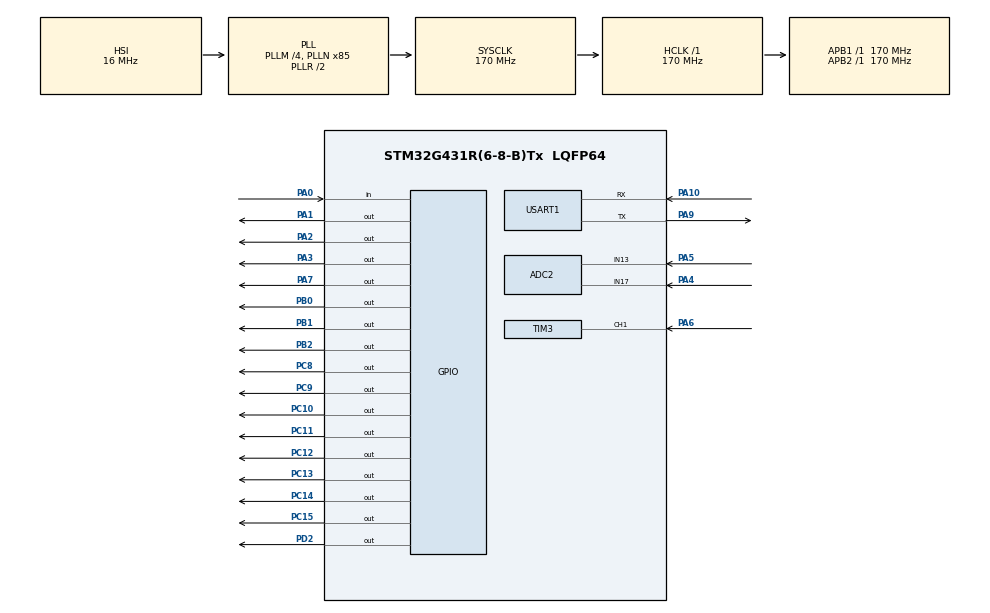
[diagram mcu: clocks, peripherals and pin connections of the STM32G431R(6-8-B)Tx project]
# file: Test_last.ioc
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ADC2.Channel-0\#ChannelRegularConversion=ADC_CHANNEL_17
ADC2.Channel-1\#ChannelRegularConversion=ADC_CHANNEL_13
ADC2.ContinuousConvMode=DISABLE
ADC2.DiscontinuousConvMode=ENABLE
ADC2.NbrOfConversion=2
ADC2.NbrOfConversionFlag=1
ADC2.OffsetNumber-0\#ChannelRegularConversion=ADC_OFFSET_NONE
ADC2.OffsetNumber-1\#ChannelRegularConversion=ADC_OFFSET_NONE
ADC2.Rank-0\#ChannelRegularConversion=1
ADC2.Rank-1\#ChannelRegularConversion=2
ADC2.SamplingTime-0\#ChannelRegularConversion=ADC_SAMPLETIME_47CYCLES_5
ADC2.SamplingTime-1\#ChannelRegularConversion=ADC_SAMPLETIME_47CYCLES_5
Mcu.Family=STM32G4
Mcu.Name=STM32G431R(6-8-B)Tx
Mcu.Package=LQFP64
NVIC.PriorityGroup=NVIC_PRIORITYGROUP_4
NVIC.TIM1_UP_TIM16_IRQn=true\:0\:0\:false\:false\:true\:true\:true\:true
NVIC.TIM3_IRQn=true\:0\:0\:false\:false\:true\:true\:true\:true
NVIC.USART1_IRQn=true\:0\:0\:false\:false\:true\:true\:true\:true
PA0.Signal=GPIO_Input
PA1.Signal=GPIO_Output
PA10.Mode=Asynchronous
PA10.Signal=USART1_RX
PA2.Signal=GPIO_Output
PA3.Signal=GPIO_Output
PA4.Mode=IN17-Single-Ended
PA4.Signal=ADC2_IN17
PA5.Mode=IN13-Single-Ended
PA5.Signal=ADC2_IN13
PA6.Signal=S_TIM3_CH1
PA7.Signal=GPIO_Output
PA9.Mode=Asynchronous
PA9.Signal=USART1_TX
PB0.Signal=GPIO_Output
PB1.Signal=GPIO_Output
PB2.Signal=GPIO_Output
PC10.Signal=GPIO_Output
PC11.Signal=GPIO_Output
PC12.Signal=GPIO_Output
PC13.Signal=GPIO_Output
PC14-OSC32_IN.Signal=GPIO_Output
PC15-OSC32_OUT.Signal=GPIO_Output
PC8.Signal=GPIO_Output
PC9.Signal=GPIO_Output
PD2.Signal=GPIO_Output
PF0-OSC_IN.Mode=HSE-External-Oscillator
PF0-OSC_IN.Signal=RCC_OSC_IN
PF1-OSC_OUT.Mode=HSE-External-Oscillator
PF1-OSC_OUT.Signal=RCC_OSC_OUT
ProjectManager.HeapSize=0x200
ProjectManager.StackSize=0x400
ProjectManager.TargetToolchain=MDK-ARM V5.32
RCC.ADC12Freq_Value=170000000
RCC.AHBFreq_Value=170000000
RCC.APB1Freq_Value=170000000
RCC.APB1TimFreq_Value=170000000
RCC.APB2Freq_Value=170000000
RCC.APB2TimFreq_Value=170000000
RCC.CortexFreq_Value=170000000
RCC.EXTERNAL_CLOCK_VALUE=12288000
RCC.HCLKFreq_Value=170000000
RCC.HSE_VALUE=24000000
RCC.HSI48_VALUE=48000000
RCC.HSI_VALUE=16000000
RCC.LSE_VALUE=32768
RCC.PLLM=RCC_PLLM_DIV4
RCC.PLLN=85
RCC.SYSCLKFreq_VALUE=170000000
RCC.SYSCLKSource=RCC_SYSCLKSOURCE_PLLCLK
RCC.USBFreq_Value=170000000
RCC.VCOOutputFreq_Value=340000000
SH.S_TIM3_CH1.0=TIM3_CH1,Input_Capture1_from_TI1
TIM1.PeriodNoDither=9999
TIM1.Prescaler=169
TIM3.Channel-Input_Capture1_from_TI1=TIM_CHANNEL_1
TIM3.Prescaler=169
USART1.VirtualMode-Asynchronous=VM_ASYNC
VP_SYS_VS_DBSignals.Mode=DisableDeadBatterySignals
VP_TIM1_VS_ClockSourceINT.Mode=Internal
board=custom

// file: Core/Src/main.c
/* USER CODE BEGIN Header */
/**
  ******************************************************************************
  * @file           : main.c
  * @brief          : Main program body
  ******************************************************************************
  * @attention
  *
  * Copyright (c) 2023 STMicroelectronics.
  * All rights reserved.
  *
  * This software is licensed under terms that can be found in the LICENSE file
  * in the root directory of this software component.
  * If no LICENSE file comes with this software, it is provided AS-IS.
  *
  ******************************************************************************
  */
/* USER CODE END Header */
#include "main.h"
#include "adc.h"
#include "tim.h"
#include "usart.h"
#include "gpio.h"

/* USER CODE BEGIN Includes */
#include "stdio.h"
#include "lcd.h"
#include "string.h"
#include "i2c_hal.h"
#include "dht11_hal.h"
#include "ds18b20_hal.h"
/* USER CODE END Includes */

/* USER CODE BEGIN PTD */

int
	Key_presst[4]={0},
	Key_voltage=0,
	Dht11_re;
uint8_t
	Flag_led1state=0,
	temp,
	humidity,
	line[10][21],
	Rx_buffer,
	Key_state=0,
	Nixie_num[]={0x3F,0x06,0x5B,0x4F,0x66,0x6D,0x7D,0x07,0x7F,0x6F,0x77,0x7C,0x39,0x5E,0x79,0x71};
float
	Voltage_pa4,
	Voltage_pa5,
	Duty_pa6;

#define SERH HAL_GPIO_WritePin(GPIOA,GPIO_PIN_1,GPIO_PIN_SET)
#define SERL HAL_GPIO_WritePin(GPIOA,GPIO_PIN_1,GPIO_PIN_RESET)

#define SCKH HAL_GPIO_WritePin(GPIOA,GPIO_PIN_3,GPIO_PIN_SET)
#define SCKL HAL_GPIO_WritePin(GPIOA,GPIO_PIN_3,GPIO_PIN_RESET)

#define RCKH HAL_GPIO_WritePin(GPIOA,GPIO_PIN_2,GPIO_PIN_SET)
#define RCKL HAL_GPIO_WritePin(GPIOA,GPIO_PIN_2,GPIO_PIN_RESET)

/* USER CODE END PTD */

void SystemClock_Config(void);
/* USER CODE BEGIN PFP */
int Get_adc2(void)
{
	int value;
	value=HAL_ADC_GetValue(&hadc2);
	HAL_ADC_Start_IT(&hadc2);
	return value;
}

void HAL_TIM_IC_CaptureCallback(TIM_HandleTypeDef *htim)
{
	static int Tim3_ch1value1,Tim3_ch1value2,Tim3_ch1valueH,Tim3_ch1valueL,Tim3_ch1state=0;
	if(htim==&htim3)
	{
		if(Tim3_ch1state==0)
		{
			Tim3_ch1value1=HAL_TIM_ReadCapturedValue(&htim3,TIM_CHANNEL_1);
			__HAL_TIM_SET_CAPTUREPOLARITY(&htim3,TIM_CHANNEL_1,TIM_INPUTCHANNELPOLARITY_FALLING);
			Tim3_ch1state=1;
		}
		else if(Tim3_ch1state==1)
		{
			Tim3_ch1value2=HAL_TIM_ReadCapturedValue(&htim3,TIM_CHANNEL_1);
			__HAL_TIM_SET_CAPTUREPOLARITY(&htim3,TIM_CHANNEL_1,TIM_INPUTCHANNELPOLARITY_RISING);
			if(Tim3_ch1value2>Tim3_ch1value1)Tim3_ch1valueH=Tim3_ch1value2-Tim3_ch1value1;
			else Tim3_ch1valueH=Tim3_ch1value2-Tim3_ch1value1+65535;
			Tim3_ch1state=2;
		}
		else if(Tim3_ch1state==2)
		{
			Tim3_ch1value1=HAL_TIM_ReadCapturedValue(&htim3,TIM_CHANNEL_1);
			if(Tim3_ch1value2<Tim3_ch1value1)Tim3_ch1valueL=Tim3_ch1value1-Tim3_ch1value2;
			else Tim3_ch1valueL=Tim3_ch1value1+65535-Tim3_ch1value2;
			Duty_pa6=Tim3_ch1valueH*1.0f/((Tim3_ch1valueH+Tim3_ch1valueL)*1.0f);
			Tim3_ch1state=0;
		}
	}
}

void Nixie_dis(uint8_t a,uint8_t b,uint8_t c)
{
	uint32_t value=(Nixie_num[c]<<16) | (Nixie_num[b]<<8) | Nixie_num[a];
	for(char i=0;i<24;i++)
	{
		if(value &0x800000)SERH;
		else SERL;
		SCKH;
		SCKL;
		value<<=1;
	}
	RCKH;
	RCKL;
}

void Led_control(uint8_t num, uint8_t state)
{
	HAL_GPIO_WritePin(GPIOC,0x80<<num,state?GPIO_PIN_SET:GPIO_PIN_RESET);
}

void Led_proc(void)
{
	Led_control(1,Flag_led1state);
	for(char i=2;i<9;i++)
	Led_control(i,1);
	HAL_GPIO_WritePin(GPIOD,GPIO_PIN_2,GPIO_PIN_SET);
	HAL_GPIO_WritePin(GPIOD,GPIO_PIN_2,GPIO_PIN_RESET);
}

/* USER CODE END PFP */

/* USER CODE BEGIN 0 */

void HAL_TIM_PeriodElapsedCallback(TIM_HandleTypeDef *htim)
{
	static uint8_t adct=0,ledt=0;
	if(htim==&htim1)
	{
		if(++adct==5)Voltage_pa4=Get_adc2();
		if(adct==10)Voltage_pa5=Get_adc2(),adct=0;
		if(++ledt==10)ledt=0,Flag_led1state=!Flag_led1state;
	}
}

/* USER CODE END 0 */

int main(void)
{

  /* MCU Configuration--------------------------------------------------------*/

  /* Reset of all peripherals, Initializes the Flash interface and the Systick. */
  HAL_Init();

  /* Configure the system clock */
  SystemClock_Config();

  /* Initialize all configured peripherals */
  MX_GPIO_Init();
  MX_ADC2_Init();
  MX_TIM1_Init();
  MX_TIM3_Init();
  MX_USART1_UART_Init();
  /* USER CODE BEGIN 2 */
	HAL_TIM_Base_Start_IT(&htim1);
	HAL_TIM_IC_Start_IT(&htim3,TIM_CHANNEL_1);
	I2CInit();
	LCD_Init();
	LCD_SetBackColor(Blue);
	LCD_SetTextColor(White);
	Nixie_dis(0,8,15);
  /* USER CODE END 2 */

  /* Infinite loop */
  while (1)
  {

    /* USER CODE BEGIN 3 */
		Nixie_dis(0,8,15);
		Dht11_re=Dht11_read();
		temp=Dht11_re>>24;
		humidity=(Dht11_re>>8) & 0xff;
		sprintf((char *)line[0],"h:%d w:%d %.2f",humidity,temp,Duty_pa6);
		LCD_DisplayStringLine(0,line[0]);
		sprintf((char *)line[1],"%d   %.2f",(int)Voltage_pa4,Voltage_pa5*1.0f/4096.0f*3.3f);
		LCD_DisplayStringLine(24,line[1]);
		Led_proc();
//		HAL_Delay(300);
	}
  /* USER CODE END 3 */
}

void SystemClock_Config(void)
{
  RCC_OscInitTypeDef RCC_OscInitStruct = {0};
  RCC_ClkInitTypeDef RCC_ClkInitStruct = {0};

  /** Configure the main internal regulator output voltage
  */
  HAL_PWREx_ControlVoltageScaling(PWR_REGULATOR_VOLTAGE_SCALE1_BOOST);

  /** Initializes the RCC Oscillators according to the specified parameters
  * in the RCC_OscInitTypeDef structure.
  */
  RCC_OscInitStruct.OscillatorType = RCC_OSCILLATORTYPE_HSI;
  RCC_OscInitStruct.HSIState = RCC_HSI_ON;
  RCC_OscInitStruct.HSICalibrationValue = RCC_HSICALIBRATION_DEFAULT;
  RCC_OscInitStruct.PLL.PLLState = RCC_PLL_ON;
  RCC_OscInitStruct.PLL.PLLSource = RCC_PLLSOURCE_HSI;
  RCC_OscInitStruct.PLL.PLLM = RCC_PLLM_DIV4;
  RCC_OscInitStruct.PLL.PLLN = 85;
  RCC_OscInitStruct.PLL.PLLP = RCC_PLLP_DIV2;
  RCC_OscInitStruct.PLL.PLLQ = RCC_PLLQ_DIV2;
  RCC_OscInitStruct.PLL.PLLR = RCC_PLLR_DIV2;
  if (HAL_RCC_OscConfig(&RCC_OscInitStruct) != HAL_OK)
  {
    Error_Handler();
  }

  /** Initializes the CPU, AHB and APB buses clocks
  */
  RCC_ClkInitStruct.ClockType = RCC_CLOCKTYPE_HCLK|RCC_CLOCKTYPE_SYSCLK
                              |RCC_CLOCKTYPE_PCLK1|RCC_CLOCKTYPE_PCLK2;
  RCC_ClkInitStruct.SYSCLKSource = RCC_SYSCLKSOURCE_PLLCLK;
  RCC_ClkInitStruct.AHBCLKDivider = RCC_SYSCLK_DIV1;
  RCC_ClkInitStruct.APB1CLKDivider = RCC_HCLK_DIV1;
  RCC_ClkInitStruct.APB2CLKDivider = RCC_HCLK_DIV1;

  if (HAL_RCC_ClockConfig(&RCC_ClkInitStruct, FLASH_LATENCY_4) != HAL_OK)
  {
    Error_Handler();
  }
}

void Error_Handler(void)
{
  __disable_irq();
  while (1)
  {
  }
}
